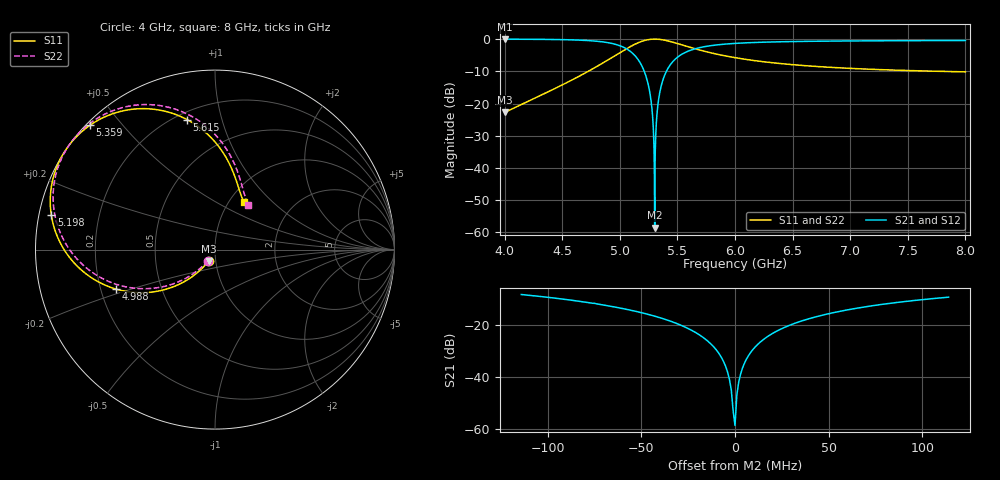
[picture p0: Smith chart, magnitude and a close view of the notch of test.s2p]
! Sonnet Data File
! From: emgraph Version : 16.52
! From Emgraph Data: 171106_xz_squiggleX_Res5G_12_EvenBrg
! Data File Written: 11/17/2017 14:56:11
!< HDATE 11/08/2017 11:38:27
!< MDATE 11/08/2017 11:38:27
!< PARAMS
!< dCr = 12.0
!< Squiggle_length = 16.0
!< Holo = 108.0
!< Inter = 15.0
!< Brg_Dist = 174.000026
!< END PARAMS
# GHZ S MA R 50.00000
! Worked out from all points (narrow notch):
!   4001 points, 4 GHz to 8 GHz, reference 50 ohm
!   highest |S21| = -0.02 dB at 4 GHz (marker M1); lowest = -58.5 dB at 5.303 GHz (marker M2)
!   notch at M2: 57.9 dB deep, 19.1 MHz wide at half that depth
!   lowest |S11| = -22.8 dB at 4 GHz (marker M3), VSWR 1.16, Z = 46.2 - j5.88 ohm
!   |S11| at or under -10 dB: start of sweep to 4.726 GHz; 7.765 GHz to end of sweep
!   |S22| runs from -22.8 to 0.0 dB; largest |S21 - S12| = 4.9e-12
!   S11 on the Smith chart (normalised r, x): 4 GHz: 0.92, -0.12; 4.988 GHz: 0.26, -0.18; 5.198 GHz: 0.04, +0.10; 5.359 GHz: 0.01, +0.41; 5.615 GHz: 0.24, +0.78; 8 GHz: 1.17, +0.68
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4  0.07271 -119.5  0.9974 -31.1  0.9974 -31.1  0.07271 -122.8
!< P1 F=4.0 Eeff=(6.53975032 -3.0165e-5) Z0=(50.7196192 1.16963e-4) R=0.01177958 C=0.01558055
!< P2 F=4.0 Eeff=(6.53975032 -3.0165e-5) Z0=(50.7196192 1.16963e-4) R=0.01177958 C=0.01558055
4.667  0.2771 -135.9  0.9606 -47.4  0.9606 -47.4  0.2771 -139.0
4.841  0.4139 -145.4  0.91 -56.9  0.91 -56.9  0.4139 -148.5
4.988  0.5957 -158.4  0.8028 -70.0  0.8028 -70.0  0.5957 -161.6
5.096  0.7723 -173.1  0.6348 -84.6  0.6348 -84.6  0.7723 -176.3
5.198  0.9317 168.2  0.3628 -103.4  0.3628 -103.4  0.9317 164.9
5.233  0.9692 160.9  0.2458 -110.7  0.2458 -110.7  0.9692 157.7
5.259  0.9879 155.4  0.1544 -116.2  0.1544 -116.2  0.9879 152.1
5.276  0.9955 151.8  0.094 -119.8  0.094 -119.8  0.9955 148.5
5.289  0.9988 149.1  0.04793 -122.5  0.04793 -122.5  0.9988 145.8
5.303  1 146.2  0.001188 52.5  0.001188 52.5  1 142.9
5.317  0.9987 143.3  0.04946 51.6  0.04946 51.6  0.9987 140.0
5.327  0.9965 141.3  0.08324 49.6  0.08324 49.6  0.9965 138.0
5.334  0.9943 139.9  0.1065 48.3  0.1065 48.3  0.9943 136.6
5.359  0.9824 135.1  0.1863 43.5  0.1863 43.5  0.9824 131.9
5.397  0.955 128.4  0.2965 36.7  0.2965 36.7  0.955 125.1
5.451  0.904 120.0  0.4276 28.3  0.4276 28.3  0.904 116.7
5.615  0.7402 102.1  0.6724 10.4  0.6724 10.4  0.7402 98.7
6  0.5149 83.0  0.8571 -8.8  0.8571 -8.8  0.515 79.4
6.667  0.3802 70.5  0.9246 -21.6  0.9246 -21.6  0.3802 66.4
7.334  0.3322 63.8  0.9429 -28.6  0.9429 -28.6  0.3322 59.1
8  0.31 58.7  0.9507 -33.9  0.9507 -33.9  0.31 53.4
